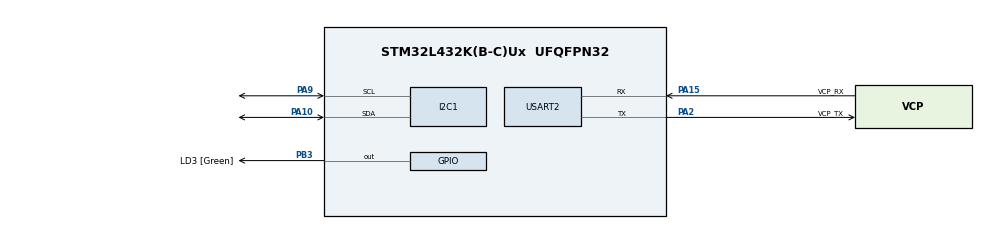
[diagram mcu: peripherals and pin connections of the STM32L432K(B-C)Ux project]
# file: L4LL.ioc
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I2C1.Timing=0x00303D5B
Mcu.Family=STM32L4
Mcu.Name=STM32L432K(B-C)Ux
Mcu.Package=UFQFPN32
NVIC.PriorityGroup=NVIC_PRIORITYGROUP_4
PA0.GPIO_Label=MCO [High speed clock in]
PA0.Mode=HSE-External-Clock-Source-for-LittleOrca
PA0.Signal=RCC_CK_IN
PA10.Mode=I2C
PA10.Signal=I2C1_SDA
PA13\ (JTMS-SWDIO).GPIO_Label=SWDIO
PA13\ (JTMS-SWDIO).Mode=Serial_Wire
PA13\ (JTMS-SWDIO).Signal=SYS_JTMS-SWDIO
PA14\ (JTCK-SWCLK).GPIO_Label=SWCLK
PA14\ (JTCK-SWCLK).Mode=Serial_Wire
PA14\ (JTCK-SWCLK).Signal=SYS_JTCK-SWCLK
PA15\ (JTDI).GPIO_Label=VCP_RX
PA15\ (JTDI).Mode=Asynchronous
PA15\ (JTDI).Signal=USART2_RX
PA2.GPIO_Label=VCP_TX
PA2.Mode=Asynchronous
PA2.Signal=USART2_TX
PA9.Mode=I2C
PA9.Signal=I2C1_SCL
PB3\ (JTDO-TRACESWO).GPIO_Label=LD3 [Green]
PB3\ (JTDO-TRACESWO).Signal=GPIO_Output
PC14-OSC32_IN\ (PC14).Mode=LSE-External-Oscillator
PC14-OSC32_IN\ (PC14).Signal=RCC_OSC32_IN
PC15-OSC32_OUT\ (PC15).Mode=LSE-External-Oscillator
PC15-OSC32_OUT\ (PC15).Signal=RCC_OSC32_OUT
ProjectManager.HeapSize=0x200
ProjectManager.StackSize=0x400
ProjectManager.TargetToolchain=Makefile
RCC.ADCFreq_Value=64000000
RCC.AHBFreq_Value=16000000
RCC.APB1Freq_Value=16000000
RCC.APB1TimFreq_Value=16000000
RCC.APB2Freq_Value=16000000
RCC.APB2TimFreq_Value=16000000
RCC.CortexFreq_Value=16000000
RCC.HCLKFreq_Value=16000000
RCC.HSE_VALUE=8000000
RCC.HSI16_VALUE=16000000
RCC.HSI48_VALUE=48000000
RCC.HSI_VALUE=16000000
RCC.MSI_VALUE=4000000
RCC.PLLMUL=RCC_PLLMUL_4
RCC.PLLN=20
RCC.PLLSourceVirtual=RCC_PLLSOURCE_HSI
RCC.SYSCLKFreq_VALUE=16000000
RCC.SYSCLKSource=RCC_SYSCLKSOURCE_HSI
RCC.USBFreq_Value=64000000
RCC.VCOOutputFreq_Value=320000000
USART2.VirtualMode-Asynchronous=VM_ASYNC
board=NUCLEO-L432KC

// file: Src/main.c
/* USER CODE BEGIN Header */
/**
 ******************************************************************************
 * @file           : main.c
 * @brief          : Main program body
 ******************************************************************************
 * @attention
 *
 * <h2><center>&copy; Copyright (c) 2019 STMicroelectronics.
 * All rights reserved.</center></h2>
 *
 * This software component is licensed by ST under BSD 3-Clause license,
 * the "License"; You may not use this file except in compliance with the
 * License. You may obtain a copy of the License at:
 *                        opensource.org/licenses/BSD-3-Clause
 *
 ******************************************************************************
 */
/* USER CODE END Header */

#include "main.h"
#include "gpio.h"
#include "i2c.h"
#include "usart.h"

/* USER CODE BEGIN PTD */
/** Set Lower Column Start Address for Page Addressing Mode. */
#define SSD1306_SETLOWCOLUMN 0x00
/** Set Higher Column Start Address for Page Addressing Mode. */
#define SSD1306_SETHIGHCOLUMN 0x10
/** Set Memory Addressing Mode. */
#define SSD1306_MEMORYMODE 0x20
/** Set display RAM display start line register from 0 - 63. */
#define SSD1306_SETSTARTLINE 0x40
/** Set Display Contrast to one of 256 steps. */
#define SSD1306_SETCONTRAST 0x81
/** Enable or disable charge pump.  Follow with 0X14 enable, 0X10 disable. */
#define SSD1306_CHARGEPUMP 0x8D
/** Set Segment Re-map between data column and the segment driver. */
#define SSD1306_SEGREMAP 0xA0
/** Resume display from GRAM content. */
#define SSD1306_DISPLAYALLON_RESUME 0xA4
/** Force display on regardless of GRAM content. */
#define SSD1306_DISPLAYALLON 0xA5
/** Set Normal Display. */
#define SSD1306_NORMALDISPLAY 0xA6
/** Set Inverse Display. */
#define SSD1306_INVERTDISPLAY 0xA7
/** Set Multiplex Ratio from 16 to 63. */
#define SSD1306_SETMULTIPLEX 0xA8
/** Set Display off. */
#define SSD1306_DISPLAYOFF 0xAE
/** Set Display on. */
#define SSD1306_DISPLAYON 0xAF
/**Set GDDRAM Page Start Address. */
#define SSD1306_SETSTARTPAGE 0XB0
/** Set COM output scan direction normal. */
#define SSD1306_COMSCANINC 0xC0
/** Set COM output scan direction reversed. */
#define SSD1306_COMSCANDEC 0xC8
/** Set Display Offset. */
#define SSD1306_SETDISPLAYOFFSET 0xD3
/** Sets COM signals pin configuration to match the OLED panel layout. */
#define SSD1306_SETCOMPINS 0xDA
/** This command adjusts the VCOMH regulator output. */
#define SSD1306_SETVCOMDETECT 0xDB
/** Set Display Clock Divide Ratio/ Oscillator Frequency. */
#define SSD1306_SETDISPLAYCLOCKDIV 0xD5
/** Set Pre-charge Period */
#define SSD1306_SETPRECHARGE 0xD9
/** Deactivate scroll */
#define SSD1306_DEACTIVATE_SCROLL 0x2E
/** No Operation Command. */
#define SSD1306_NOP 0XE3
//------------------------------------------------------------------------------
/** Set Pump voltage value: (30H~33H) 6.4, 7.4, 8.0 (POR), 9.0. */
#define SH1106_SET_PUMP_VOLTAGE 0X30
/** First byte of set charge pump mode */
#define SH1106_SET_PUMP_MODE 0XAD
/** Second byte charge pump on. */
#define SH1106_PUMP_ON 0X8B
/** Second byte charge pump off. */
#define SH1106_PUMP_OFF 0X8A
/* USER CODE END PTD */

void SystemClock_Config(void);

int main(void) {

  /* MCU Configuration--------------------------------------------------------*/

  /* Reset of all peripherals, Initializes the Flash interface and the Systick.
   */
  HAL_Init();

  /* Configure the system clock */
  SystemClock_Config();

  /* Initialize all configured peripherals */
  MX_GPIO_Init();
  MX_USART2_UART_Init();
  MX_I2C1_Init();
  /* USER CODE BEGIN 2 */
  HAL_StatusTypeDef status;

  // Init display.
  do {
    unsigned char data[] = {
        0x00, SSD1306_DISPLAYOFF, SSD1306_SETDISPLAYCLOCKDIV,
        0x80,                           // the suggested ratio 0x80
        SSD1306_SETMULTIPLEX, 0x3F,     // ratio 64
        SSD1306_SETDISPLAYOFFSET, 0x0,  // no offset
        SSD1306_SETSTARTLINE | 0x0,     // line #0
        SSD1306_CHARGEPUMP, 0x14,       // internal vcc
        SSD1306_MEMORYMODE, 0x00,  // wrapping mode
        SSD1306_SEGREMAP | 0x1,         // column 127 mapped to SEG0
        SSD1306_COMSCANDEC,             // column scan direction reversed
        SSD1306_SETCOMPINS, 0x12,       // alt COM pins, disable remap
        SSD1306_SETCONTRAST, 0x7F,      // contrast level 127
        SSD1306_SETPRECHARGE, 0xF1,     // pre-charge period (1, 15)
        SSD1306_SETVCOMDETECT, 0x40,    // vcomh regulator level
        SSD1306_DISPLAYALLON_RESUME,
        SSD1306_NORMALDISPLAY};
    status =
        HAL_I2C_Master_Transmit(&hi2c1, 0x3c << 1, data, sizeof(data), 100);
  } while (status != HAL_OK);

  // Blank the display.
  // This assumes wrapping mode right now.
  for (int i = 0; i < 16; i++) {
    do {
      unsigned char data[65] = {0x40, 0x00,};
      status =
          HAL_I2C_Master_Transmit(&hi2c1, 0x3c << 1, data, sizeof(data), 100);
    } while (status != HAL_OK);
  }

  // Set non-wrapping mode and put cursor back at top.
  do {
    unsigned char data[] = {
        0x00,
        SSD1306_MEMORYMODE, 0x02,       // page mode
        SSD1306_DISPLAYON};
    status =
        HAL_I2C_Master_Transmit(&hi2c1, 0x3c << 1, data, sizeof(data), 100);
  } while (status != HAL_OK);

  /* USER CODE END 2 */

  /* Infinite loop */
  /* USER CODE BEGIN WHILE */
  unsigned char page = 0;
  unsigned char col = 0;
  while (1) {
    LL_GPIO_TogglePin(LD3_GPIO_Port, LD3_Pin);
    unsigned char cmd[] = {0x00,
      SSD1306_SETSTARTPAGE | (page & 0x07),
      SSD1306_SETLOWCOLUMN | (col & 0x0f),
      SSD1306_SETHIGHCOLUMN | (col >> 4)
    };
    // unsigned char text[] = {0x40,
    // 0x7F, 0x49, 0x49, 0x49, 0x41, 0x00, 0x00, 0x00,
    // 0x00, 0x41, 0x7F, 0x40, 0x00, 0x00, 0x00, 0x00,
    // 0x00, 0x44, 0x7D, 0x40, 0x00, 0x00, 0x00, 0x00,
    // 0x20, 0x40, 0x44, 0x3D, 0x00, 0x00, 0x00, 0x00,
    // 0x20, 0x54, 0x54, 0x54, 0x78, 0x00, 0x00, 0x00,
    // 0x7F, 0x08, 0x04, 0x04, 0x78, 0x00, 0x00, 0x00,
    // 0x00, 0x00, 0x00, 0x00, 0x00, 0x00, 0x00, 0x00,
    // 0x00, 0x00, 0x00, 0x00, 0x00, 0x00, 0x00, 0x00,
    // 0x00, 0x00, 0x00, 0x00, 0x00, 0x00, 0x00, 0x00,
    // 0x00, 0x00, 0x00, 0x00, 0x00, 0x00, 0x00, 0x00,
    // 0x00, 0x00, 0x00, 0x00, 0x00, 0x00, 0x00, 0x00,
    // 0x00, 0x00, 0x00, 0x00, 0x00, 0x00, 0x00, 0x00,
    // 0x00, 0x00, 0x00, 0x00, 0x00, 0x00, 0x00, 0x00,
    // 0x00, 0x00, 0x00, 0x00, 0x00, 0x00, 0x00, 0x00,
    // 0x00, 0x00, 0x00, 0x00, 0x00, 0x00, 0x00, 0x00,
    // 0x00, 0x00, 0x00, 0x00, 0x00, 0x00, 0x00, 0x00
    // };
    unsigned char text[] = {0x40,
    0x0C, 0x1E, 0x3E, 0x7C, 0x7C, 0x3E, 0x1E, 0x0C,
    0x00, 0x00, 0x00, 0x00, 0x00, 0x00, 0x00, 0x00,
    0x7E, 0x11, 0x11, 0x11, 0x7E, 0x00, 0x00, 0x00,
    0x7C, 0x08, 0x04, 0x04, 0x08, 0x00, 0x00, 0x00,
    0x00, 0x44, 0x7D, 0x40, 0x00, 0x00, 0x00, 0x00,
    0x38, 0x54, 0x54, 0x54, 0x18, 0x00, 0x00, 0x00,
    0x00, 0x41, 0x7F, 0x40, 0x00, 0x00, 0x00, 0x00,
    0x00, 0x41, 0x7F, 0x40, 0x00, 0x00, 0x00, 0x00,
    0x38, 0x54, 0x54, 0x54, 0x18, 0x00, 0x00, 0x00,
    0x00, 0x00, 0x00, 0x00, 0x00, 0x00, 0x00, 0x00,
    0x0C, 0x1E, 0x3E, 0x7C, 0x7C, 0x3E, 0x1E, 0x0C,
    0x00, 0x00, 0x00, 0x00, 0x00, 0x00, 0x00, 0x00,
    0x00, 0x00, 0x00, 0x00, 0x00, 0x00, 0x00, 0x00,
    0x00, 0x00, 0x00, 0x00, 0x00, 0x00, 0x00, 0x00,
    0x00, 0x00, 0x00, 0x00, 0x00, 0x00, 0x00, 0x00,
    0x00, 0x00, 0x00, 0x00, 0x00, 0x00, 0x00, 0x00
    };
    do {
      status =
          HAL_I2C_Master_Transmit(&hi2c1, 0x3c << 1, cmd, sizeof(cmd), 100);
    } while (status != HAL_OK);
    do {
      status =
          HAL_I2C_Master_Transmit(&hi2c1, 0x3c << 1, text, sizeof(text), 100);
    } while (status != HAL_OK);
    page += 2;
    col += 10;
    for (int i = 0; i < 1000000; i++) {
    }
    //data[1] ^= 0x01;
    /* USER CODE END WHILE */

  }
}

void SystemClock_Config(void) {
  LL_FLASH_SetLatency(LL_FLASH_LATENCY_0);

  if (LL_FLASH_GetLatency() != LL_FLASH_LATENCY_0) {
    Error_Handler();
  }
  LL_PWR_SetRegulVoltageScaling(LL_PWR_REGU_VOLTAGE_SCALE1);
  LL_RCC_HSI_Enable();

  /* Wait till HSI is ready */
  while (LL_RCC_HSI_IsReady() != 1) {
  }
  LL_RCC_HSI_SetCalibTrimming(16);
  LL_RCC_SetSysClkSource(LL_RCC_SYS_CLKSOURCE_HSI);

  /* Wait till System clock is ready */
  while (LL_RCC_GetSysClkSource() != LL_RCC_SYS_CLKSOURCE_STATUS_HSI) {
  }
  LL_RCC_SetAHBPrescaler(LL_RCC_SYSCLK_DIV_1);
  LL_RCC_SetAPB1Prescaler(LL_RCC_APB1_DIV_1);
  LL_RCC_SetAPB2Prescaler(LL_RCC_APB2_DIV_1);
  LL_Init1msTick(16000000);
  LL_SYSTICK_SetClkSource(LL_SYSTICK_CLKSOURCE_HCLK);
  LL_SetSystemCoreClock(16000000);
  LL_RCC_SetUSARTClockSource(LL_RCC_USART2_CLKSOURCE_PCLK1);
  LL_RCC_SetI2CClockSource(LL_RCC_I2C1_CLKSOURCE_PCLK1);
}

void Error_Handler(void) {
}

#ifdef USE_FULL_ASSERT
/**
 * @brief  Reports the name of the source file and the source line number
 *         where the assert_param error has occurred.
 * @param  file: pointer to the source file name
 * @param  line: assert_param error line source number
 * @retval None
 */
void assert_failed(char *file, uint32_t line) {
  /* USER CODE BEGIN 6 */
  /* User can add his own implementation to report the file name and line
     number,
     tex: printf("Wrong parameters value: file %s on line %d\r\n", file, line)
   */
  /* USER CODE END 6 */
}
#endif /* USE_FULL_ASSERT */

/************************ (C) COPYRIGHT STMicroelectronics *****END OF FILE****/
